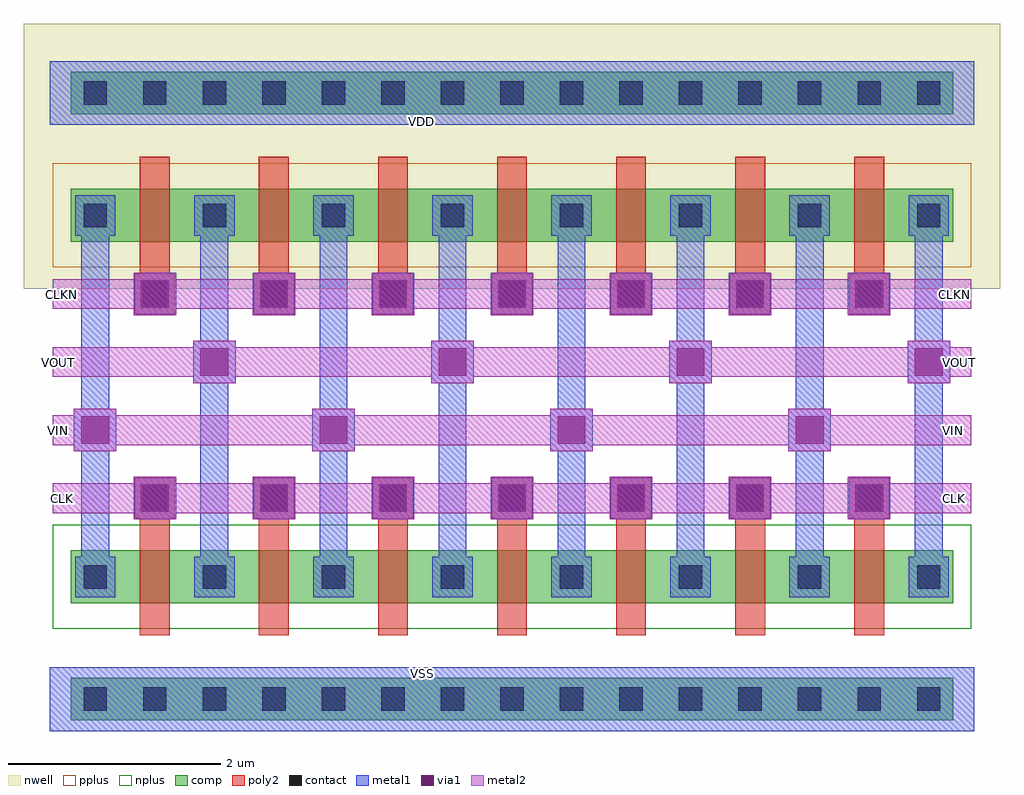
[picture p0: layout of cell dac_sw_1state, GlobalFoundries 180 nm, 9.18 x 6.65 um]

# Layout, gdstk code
import gdstk
lib = gdstk.Library(unit=1e-6, precision=5e-09)
def R(c, l, rs):  # rectangles x0, y0, x1, y1
    for r in rs: c.add(gdstk.rectangle(r[:2], r[2:], *l))
def A(c, l, x, y, w, h, nx, ny, dx, dy):  # array of equal rectangles
    R(c, l, [(x+i*dx, y+j*dy, x+i*dx+w, y+j*dy+h) for i in range(nx) for j in range(ny)])
nwell = (21, 0)
comp = (22, 0)
poly2 = (30, 0)
pplus = (31, 0)
nplus = (32, 0)
contact = (33, 0)
metal1 = (34, 0)
via1 = (35, 0)
metal2 = (36, 0)

via_dev = lib.new_cell('via_dev')

pfet = lib.new_cell('pfet')
R(pfet, nwell, [(-0.9,-0.44,1.56,0.94)])
R(pfet, comp, [(-0.46,0,0,0.5), (0,0,0.66,0.5), (0.66,0,1.12,0.5)])
R(pfet, poly2, [(0.14,-0.68,0.52,-0.3), (0.19,-0.3,0.47,0.8)])
R(pfet, pplus, [(-0.63,-0.24,1.29,0.74)])
R(pfet, contact, [(0.22,-0.6,0.44,-0.38), (-0.34,0.14,-0.12,0.36), (0.78,0.14,1,0.36)])
R(pfet, metal1, [(0.14,-0.68,0.52,-0.3), (-0.42,0.06,-0.04,0.44), (0.7,0.06,1.08,0.44)])

via_dev_1 = lib.new_cell('via_dev$1')
R(via_dev_1, metal1, [(0,0,0.4,0.4)])
R(via_dev_1, via1, [(0.07,0.07,0.33,0.33)])
R(via_dev_1, metal2, [(0,0,0.4,0.4)])

dac_sw_1state = lib.new_cell('dac_sw_1state')
R(dac_sw_1state, nwell, [(0.8,6.49,9.98,7.6)])
A(dac_sw_1state, comp, 1.24, 2.15, 1.58, 0.5, 7, 1, 1.12, 0)
R(dac_sw_1state, comp, [(1.24,2.15,1.7,2.65), (2.36,2.15,2.82,2.65), (2.36,2.15,2.82,2.65), (3.48,2.15,3.94,2.65), (3.48,2.15,3.94,2.65), (4.6,2.15,5.06,2.65), (4.6,2.15,5.06,2.65), (5.72,2.15,6.18,2.65), (5.72,2.15,6.18,2.65), (6.84,2.15,7.3,2.65), (6.84,2.15,7.3,2.65), (7.96,2.15,8.42,2.65), (7.96,2.15,8.42,2.65), (9.08,2.15,9.54,2.65)])
A(dac_sw_1state, poly2, 1.89, 1.85, 0.28, 1.1, 7, 1, 1.12, 0)
A(dac_sw_1state, poly2, 1.84, 2.95, 0.38, 0.38, 7, 1, 1.12, 0)
R(dac_sw_1state, pplus, [(1.04,0.95,9.74,1.55)])
A(dac_sw_1state, nplus, 1.07, 1.91, 1.92, 0.98, 7, 1, 1.12, 0)
R(dac_sw_1state, nplus, [(1.04,6.65,9.74,7.25)])
A(dac_sw_1state, contact, 1.92, 3.03, 0.22, 0.22, 7, 1, 1.12, 0)
R(dac_sw_1state, contact, [(1.36,1.14,1.58,1.36), (1.36,1.14,1.58,1.36), (1.92,1.14,2.14,1.36), (1.92,1.14,2.14,1.36), (2.48,1.14,2.7,1.36), (2.48,1.14,2.7,1.36), (3.04,1.14,3.26,1.36), (3.04,1.14,3.26,1.36), (3.6,1.14,3.82,1.36), (3.6,1.14,3.82,1.36), (4.16,1.14,4.38,1.36), (4.16,1.14,4.38,1.36), (4.72,1.14,4.94,1.36), (4.72,1.14,4.94,1.36), (5.28,1.14,5.5,1.36), (5.28,1.14,5.5,1.36), (5.84,1.14,6.06,1.36), (5.84,1.14,6.06,1.36), (6.4,1.14,6.62,1.36), (6.4,1.14,6.62,1.36), (6.96,1.14,7.18,1.36), (6.96,1.14,7.18,1.36), (7.52,1.14,7.74,1.36), (7.52,1.14,7.74,1.36), (8.08,1.14,8.3,1.36), (8.08,1.14,8.3,1.36), (8.64,1.14,8.86,1.36), (8.64,1.14,8.86,1.36), (9.2,1.14,9.42,1.36), (9.2,1.14,9.42,1.36), (1.36,2.29,1.58,2.51), (2.48,2.29,2.7,2.51), (2.48,2.29,2.7,2.51), (3.6,2.29,3.82,2.51), (3.6,2.29,3.82,2.51), (4.72,2.29,4.94,2.51), (4.72,2.29,4.94,2.51), (5.84,2.29,6.06,2.51), (5.84,2.29,6.06,2.51), (6.96,2.29,7.18,2.51), (6.96,2.29,7.18,2.51), (8.08,2.29,8.3,2.51), (8.08,2.29,8.3,2.51), (9.2,2.29,9.42,2.51), (1.36,6.84,1.58,7.06), (1.36,6.84,1.58,7.06), (1.92,6.84,2.14,7.06), (1.92,6.84,2.14,7.06), (2.48,6.84,2.7,7.06), (2.48,6.84,2.7,7.06), (3.04,6.84,3.26,7.06), (3.04,6.84,3.26,7.06), (3.6,6.84,3.82,7.06), (3.6,6.84,3.82,7.06), (4.16,6.84,4.38,7.06), (4.16,6.84,4.38,7.06), (4.72,6.84,4.94,7.06), (4.72,6.84,4.94,7.06), (5.28,6.84,5.5,7.06), (5.28,6.84,5.5,7.06), (5.84,6.84,6.06,7.06), (5.84,6.84,6.06,7.06), (6.4,6.84,6.62,7.06), (6.4,6.84,6.62,7.06), (6.96,6.84,7.18,7.06), (6.96,6.84,7.18,7.06), (7.52,6.84,7.74,7.06), (7.52,6.84,7.74,7.06), (8.08,6.84,8.3,7.06), (8.08,6.84,8.3,7.06), (8.64,6.84,8.86,7.06), (8.64,6.84,8.86,7.06), (9.2,6.84,9.42,7.06), (9.2,6.84,9.42,7.06)])
A(dac_sw_1state, metal1, 1.84, 2.95, 0.38, 0.38, 7, 1, 1.12, 0)
R(dac_sw_1state, metal1, [(1.27,1.05,1.67,1.45), (1.27,1.05,1.67,1.45), (1.83,1.05,2.23,1.45), (1.83,1.05,2.23,1.45), (2.39,1.05,2.79,1.45), (2.39,1.05,2.79,1.45), (2.95,1.05,3.35,1.45), (2.95,1.05,3.35,1.45), (3.51,1.05,3.91,1.45), (3.51,1.05,3.91,1.45), (4.07,1.05,4.47,1.45), (4.07,1.05,4.47,1.45), (4.63,1.05,5.03,1.45), (4.63,1.05,5.03,1.45), (5.19,1.05,5.59,1.45), (5.19,1.05,5.59,1.45), (5.75,1.05,6.15,1.45), (5.75,1.05,6.15,1.45), (6.31,1.05,6.71,1.45), (6.31,1.05,6.71,1.45), (6.87,1.05,7.27,1.45), (6.87,1.05,7.27,1.45), (7.43,1.05,7.83,1.45), (7.43,1.05,7.83,1.45), (7.99,1.05,8.39,1.45), (7.99,1.05,8.39,1.45), (8.55,1.05,8.95,1.45), (8.55,1.05,8.95,1.45), (9.11,1.05,9.51,1.45), (9.11,1.05,9.51,1.45), (1.28,2.21,1.66,2.59), (2.4,2.21,2.78,2.59), (2.4,2.21,2.78,2.59), (3.52,2.21,3.9,2.59), (3.52,2.21,3.9,2.59), (4.64,2.21,5.02,2.59), (4.64,2.21,5.02,2.59), (5.76,2.21,6.14,2.59), (5.76,2.21,6.14,2.59), (6.88,2.21,7.26,2.59), (6.88,2.21,7.26,2.59), (8,2.21,8.38,2.59), (8,2.21,8.38,2.59), (9.12,2.21,9.5,2.59), (1.27,6.75,1.67,7.15), (1.27,6.75,1.67,7.15), (1.83,6.75,2.23,7.15), (1.83,6.75,2.23,7.15), (2.39,6.75,2.79,7.15), (2.39,6.75,2.79,7.15), (2.95,6.75,3.35,7.15), (2.95,6.75,3.35,7.15), (3.51,6.75,3.91,7.15), (3.51,6.75,3.91,7.15), (4.07,6.75,4.47,7.15), (4.07,6.75,4.47,7.15), (4.63,6.75,5.03,7.15), (4.63,6.75,5.03,7.15), (5.19,6.75,5.59,7.15), (5.19,6.75,5.59,7.15), (5.75,6.75,6.15,7.15), (5.75,6.75,6.15,7.15), (6.31,6.75,6.71,7.15), (6.31,6.75,6.71,7.15), (6.87,6.75,7.27,7.15), (6.87,6.75,7.27,7.15), (7.43,6.75,7.83,7.15), (7.43,6.75,7.83,7.15), (7.99,6.75,8.39,7.15), (7.99,6.75,8.39,7.15), (8.55,6.75,8.95,7.15), (8.55,6.75,8.95,7.15), (9.11,6.75,9.51,7.15), (9.11,6.75,9.51,7.15)])
dac_sw_1state.add(gdstk.FlexPath([(1.47,5.99),(1.47,2.21)], 0.26, ends="flush", simple_path=True, layer=34, datatype=0))  # metal1
dac_sw_1state.add(gdstk.FlexPath([(2.59,5.99),(2.59,2.21)], 0.26, ends="flush", simple_path=True, layer=34, datatype=0))  # metal1
dac_sw_1state.add(gdstk.FlexPath([(3.71,5.99),(3.71,2.21)], 0.26, ends="flush", simple_path=True, layer=34, datatype=0))  # metal1
dac_sw_1state.add(gdstk.FlexPath([(4.83,5.99),(4.83,2.21)], 0.26, ends="flush", simple_path=True, layer=34, datatype=0))  # metal1
dac_sw_1state.add(gdstk.FlexPath([(5.95,5.99),(5.95,2.21)], 0.26, ends="flush", simple_path=True, layer=34, datatype=0))  # metal1
dac_sw_1state.add(gdstk.FlexPath([(7.07,5.99),(7.07,2.21)], 0.26, ends="flush", simple_path=True, layer=34, datatype=0))  # metal1
dac_sw_1state.add(gdstk.FlexPath([(8.19,5.99),(8.19,2.21)], 0.26, ends="flush", simple_path=True, layer=34, datatype=0))  # metal1
dac_sw_1state.add(gdstk.FlexPath([(9.31,5.99),(9.31,2.21)], 0.26, ends="flush", simple_path=True, layer=34, datatype=0))  # metal1
dac_sw_1state.add(gdstk.FlexPath([(1.04,6.95),(9.74,6.95)], 0.6, ends="flush", simple_path=True, layer=34, datatype=0))  # metal1
dac_sw_1state.add(gdstk.FlexPath([(1.04,1.25),(9.74,1.25)], 0.6, ends="flush", simple_path=True, layer=34, datatype=0))  # metal1
dac_sw_1state.add(gdstk.FlexPath([(1.24,1.25),(9.54,1.25)], 0.4, ends="flush", simple_path=True, layer=22, datatype=0))  # comp
dac_sw_1state.add(gdstk.FlexPath([(1.24,6.95),(9.54,6.95)], 0.4, ends="flush", simple_path=True, layer=22, datatype=0))  # comp
dac_sw_1state.add(gdstk.FlexPath([(1.07,5.06),(9.71,5.06)], 0.28, ends="flush", simple_path=True, layer=36, datatype=0))  # metal2
dac_sw_1state.add(gdstk.FlexPath([(1.07,3.14),(9.71,3.14)], 0.28, ends="flush", simple_path=True, layer=36, datatype=0))  # metal2
dac_sw_1state.add(gdstk.FlexPath([(1.07,4.42),(9.71,4.42)], 0.28, ends="flush", simple_path=True, layer=36, datatype=0))  # metal2
dac_sw_1state.add(gdstk.FlexPath([(1.07,3.78),(9.71,3.78)], 0.28, ends="flush", simple_path=True, layer=36, datatype=0))  # metal2
dac_sw_1state.add(gdstk.Reference(via_dev, (0.88,1.52)))
dac_sw_1state.add(gdstk.Reference(via_dev, (0.8,1.77)))
dac_sw_1state.add(gdstk.Reference(pfet, (8.42,5.55)))
dac_sw_1state.add(gdstk.Reference(pfet, (7.3,5.55)))
dac_sw_1state.add(gdstk.Reference(pfet, (6.18,5.55)))
dac_sw_1state.add(gdstk.Reference(pfet, (5.06,5.55)))
dac_sw_1state.add(gdstk.Reference(pfet, (3.94,5.55)))
dac_sw_1state.add(gdstk.Reference(pfet, (2.82,5.55)))
dac_sw_1state.add(gdstk.Reference(pfet, (1.7,5.55)))
dac_sw_1state.add(gdstk.Reference(via_dev_1, (2.95,4.86)))
dac_sw_1state.add(gdstk.Reference(via_dev_1, (4.07,4.86)))
dac_sw_1state.add(gdstk.Reference(via_dev_1, (5.19,4.86)))
dac_sw_1state.add(gdstk.Reference(via_dev_1, (6.31,4.86)))
dac_sw_1state.add(gdstk.Reference(via_dev_1, (7.43,4.86)))
dac_sw_1state.add(gdstk.Reference(via_dev_1, (8.55,4.86)))
dac_sw_1state.add(gdstk.Reference(via_dev_1, (1.83,2.94)))
dac_sw_1state.add(gdstk.Reference(via_dev_1, (2.95,2.94)))
dac_sw_1state.add(gdstk.Reference(via_dev_1, (4.07,2.94)))
dac_sw_1state.add(gdstk.Reference(via_dev_1, (5.19,2.94)))
dac_sw_1state.add(gdstk.Reference(via_dev_1, (6.31,2.94)))
dac_sw_1state.add(gdstk.Reference(via_dev_1, (7.43,2.94)))
dac_sw_1state.add(gdstk.Reference(via_dev_1, (8.55,2.94)))
dac_sw_1state.add(gdstk.Reference(via_dev_1, (1.83,4.86)))
dac_sw_1state.add(gdstk.Reference(via_dev_1, (1.27,3.58)))
dac_sw_1state.add(gdstk.Reference(via_dev_1, (2.39,4.22)))
dac_sw_1state.add(gdstk.Reference(via_dev_1, (3.51,3.58)))
dac_sw_1state.add(gdstk.Reference(via_dev_1, (4.63,4.22)))
dac_sw_1state.add(gdstk.Reference(via_dev_1, (5.75,3.58)))
dac_sw_1state.add(gdstk.Reference(via_dev_1, (6.87,4.22)))
dac_sw_1state.add(gdstk.Reference(via_dev_1, (9.11,4.22)))
dac_sw_1state.add(gdstk.Reference(via_dev_1, (7.99,3.58)))
dac_sw_1state.add(gdstk.Label('VDD', (4.54,6.68), layer=34, texttype=10))
dac_sw_1state.add(gdstk.Label('VSS', (4.55,1.49), layer=34, texttype=10))
dac_sw_1state.add(gdstk.Label('VIN', (1.12,3.78), layer=36, texttype=10))
dac_sw_1state.add(gdstk.Label('VOUT', (9.6,4.42), layer=36, texttype=10))
dac_sw_1state.add(gdstk.Label('CLK', (1.16,3.14), layer=36, texttype=10))
dac_sw_1state.add(gdstk.Label('CLK', (9.55,3.14), layer=36, texttype=10))
dac_sw_1state.add(gdstk.Label('VOUT', (1.12,4.42), layer=36, texttype=10))
dac_sw_1state.add(gdstk.Label('VIN', (9.54,3.78), layer=36, texttype=10))
dac_sw_1state.add(gdstk.Label('CLKN', (9.55,5.06), layer=36, texttype=10))
dac_sw_1state.add(gdstk.Label('CLKN', (1.15,5.06), layer=36, texttype=10))

lib.write_gds('dac_sw_1state.gds')
